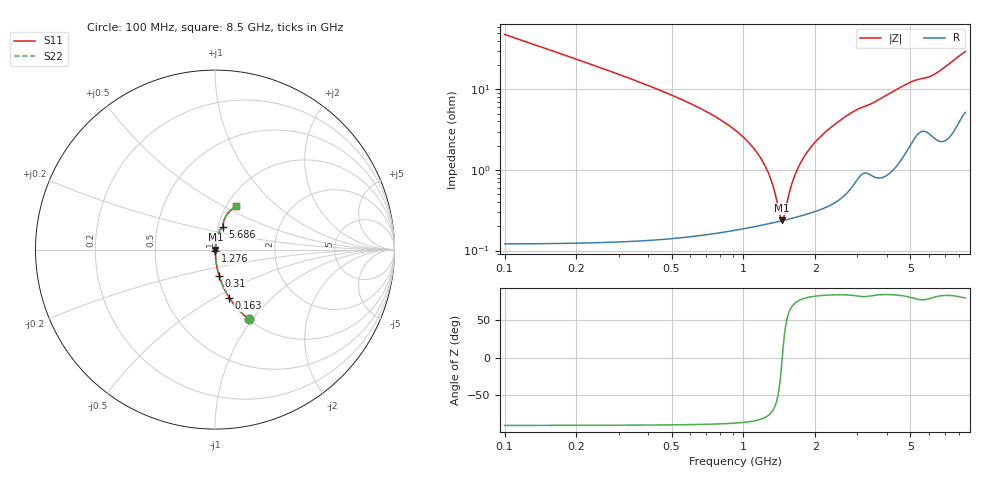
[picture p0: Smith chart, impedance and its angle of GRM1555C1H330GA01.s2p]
!Murata Part Number: GRM1555C1H330GA01
!These Parameters are Measured in Series Mode Connection
!Data Generated on Mar 30, 2021
!  o--ll--o
!Port1  Port2
!  o------o
!Operation Temp=25[degC], DC Bias Voltage=0[V]
!Freq. Start=100[MHz] Stop=9[GHz] 401[Steps]
# Hz S RI R 50
!Freq.(Hz) S11(Real) S11(Imag) S21(Real) S21(Imag) S12(Real) S12(Imag) S22(Real) S22(Imag)
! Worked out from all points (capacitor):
!   401 points, 100 MHz to 8.5 GHz, reference 50 ohm
!   read as one part in series: C = 33 pF near 142 MHz
!   lowest |Z| = 238 mohm at 1.444 GHz (marker M1)
!   series resonance near 1.454 GHz, so ESL is about 360 pH
!   S11 on the Smith chart (normalised r, x): 100 MHz: 1.00, -0.96; 163 MHz: 1.00, -0.58; 310 MHz: 1.00, -0.30; 1.276 GHz: 1.00, -0.02; 5.686 GHz: 1.06, +0.27; 8.5 GHz: 1.10, +0.58
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1e8  0.1879 -0.3893  0.8121 0.3893  0.8121 0.3893  0.1879 -0.3893
1.63e8  0.0796 -0.2686  0.9204 0.2686  0.9204 0.2686  0.0796 -0.2686
3.1e8  0.0228 -0.1449  0.9772 0.1449  0.9772 0.1449  0.0228 -0.1449
5.62e8  0.00672 -0.0724  0.9933 0.0724  0.9933 0.0724  0.00672 -0.0724
1.024e9  0.00245 -0.0237  0.9976 0.0237  0.9976 0.0237  0.00245 -0.0237
1.171e9  0.00225 -0.0144  0.9978 0.0144  0.9978 0.0144  0.00225 -0.0144
1.276e9  0.00222 -0.00867  0.9978 0.00867  0.9978 0.00867  0.00222 -0.00867
1.402e9  0.00229 -0.0024  0.9977 0.0024  0.9977 0.0024  0.00229 -0.0024
1.444e9  0.00233 -0.000437  0.9977 0.000437  0.9977 0.000437  0.00233 -0.000437
1.465e9  0.00236 0.000524  0.9976 -0.000524  0.9976 -0.000524  0.00236 0.000524
1.507e9  0.00241 0.00241  0.9976 -0.00241  0.9976 -0.00241  0.00241 0.00241
1.57e9  0.0025 0.00515  0.9975 -0.00515  0.9975 -0.00515  0.0025 0.00515
1.654e9  0.00265 0.00866  0.9973 -0.00866  0.9973 -0.00866  0.00265 0.00866
1.759e9  0.00287 0.0129  0.9971 -0.0129  0.9971 -0.0129  0.00287 0.0129
1.906e9  0.00325 0.0185  0.9968 -0.0185  0.9968 -0.0185  0.00325 0.0185
2.305e9  0.00469 0.0326  0.9953 -0.0326  0.9953 -0.0326  0.00469 0.0326
2.914e9  0.00948 0.0525  0.9905 -0.0525  0.9905 -0.0525  0.00948 0.0525
4.3e9  0.0192 0.0933  0.9808 -0.0933  0.9808 -0.0933  0.0192 0.0933
5.686e9  0.0455 0.1241  0.9545 -0.1241  0.9545 -0.1241  0.0455 0.1241
5.707e9  0.0456 0.1244  0.9544 -0.1244  0.9544 -0.1244  0.0456 0.1244
7.114e9  0.0578 0.1805  0.9422 -0.1805  0.9422 -0.1805  0.0578 0.1805
8.5e9  0.1165 0.2437  0.8835 -0.2437  0.8835 -0.2437  0.1165 0.2437
